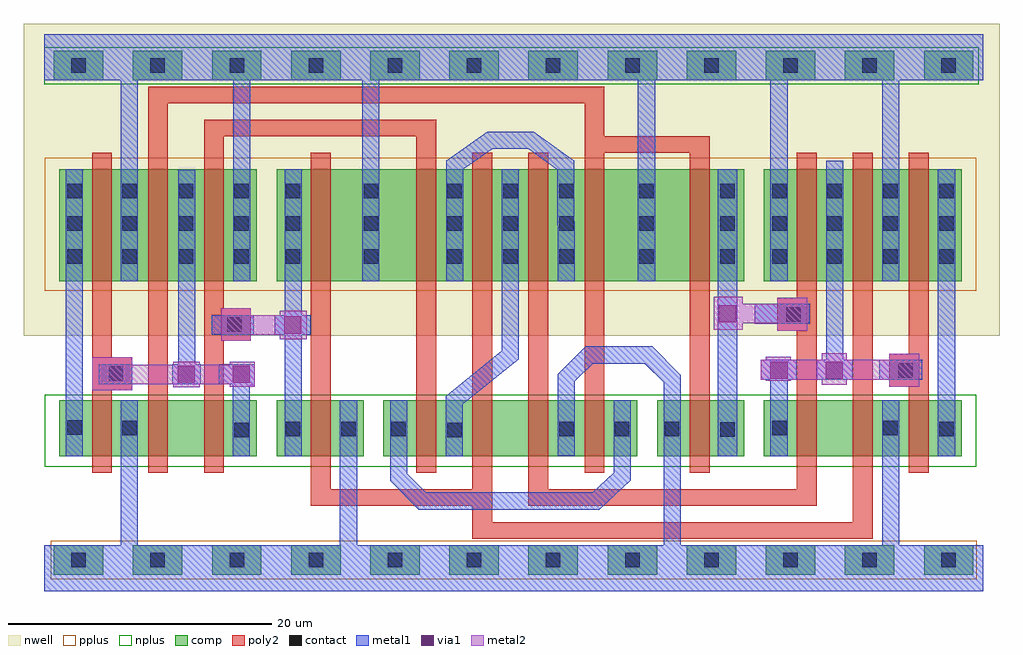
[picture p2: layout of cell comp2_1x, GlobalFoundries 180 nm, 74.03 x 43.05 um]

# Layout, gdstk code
import gdstk
lib = gdstk.Library(unit=1e-6, precision=5e-09)
def R(c, l, rs):  # rectangles x0, y0, x1, y1
    for r in rs: c.add(gdstk.rectangle(r[:2], r[2:], *l))
def A(c, l, x, y, w, h, nx, ny, dx, dy):  # array of equal rectangles
    R(c, l, [(x+i*dx, y+j*dy, x+i*dx+w, y+j*dy+h) for i in range(nx) for j in range(ny)])
def P(c, l, *ps):  # polygons
    for p in ps: c.add(gdstk.Polygon(p, *l))
nwell = (21, 0)
comp = (22, 0)
poly2 = (30, 0)
pplus = (31, 0)
nplus = (32, 0)
contact = (33, 0)
metal1 = (34, 0)
via1 = (35, 0)
metal2 = (36, 0)

comp2_1x = lib.new_cell('comp2_1x')
R(comp2_1x, nwell, [(-41.55,-10.43,32.475,13.25)])
A(comp2_1x, comp, -39.25, -28.555, 3.75, 2.25, 12, 2, 6, 37.505)
R(comp2_1x, comp, [(-38.85,-19.555,-23.85,-15.305), (-22.35,-19.555,-15.75,-15.305), (-14.25,-19.555,5,-15.305), (6.5,-19.555,13.1,-15.305), (14.6,-19.555,29.6,-15.305), (-38.85,-6.3,-23.85,2.2), (14.6,-6.3,29.6,2.2)])
P(comp2_1x, comp, [(-22.35,-6.3),(-22.35,2.2),(-21.125,2.2),(-21.075,2.2),(13.1,2.2),(13.1,-6.3)])
A(comp2_1x, poly2, -7.5, -24.555, 1.5, 1.25, 1, 3, 0, 1.25)
A(comp2_1x, poly2, 21.35, -24.555, 1.5, 1.25, 1, 3, 0, 1.25)
A(comp2_1x, poly2, -11.75, -20.805, 1.5, 5.75, 4, 1, 4.25, 0)
A(comp2_1x, poly2, -11.75, -15.055, 1.5, 4.7, 4, 1, 4.25, 0)
A(comp2_1x, poly2, -11.75, -10.355, 1.5, 13.805, 4, 1, 4.25, 0)
A(comp2_1x, poly2, -32.1, 3.45, 1.5, 1.25, 1, 3, 0, 1.25)
R(comp2_1x, poly2, [(-7.5,-25.805,22.85,-24.555), (-19.75,-23.305,-7.5,-22.055), (-3.25,-23.305,18.6,-22.055), (-19.75,-22.055,-18.25,-20.805), (-3.25,-22.055,-1.75,-20.805), (17.1,-22.055,18.6,-20.805), (-36.35,-20.805,-34.85,-14.55), (-32.1,-20.805,-30.6,-15.055), (-27.85,-20.805,-26.35,-10.8), (-19.75,-20.805,-18.25,-15.055), (9,-20.805,10.5,-15.055), (17.1,-20.805,18.6,-10.05), (21.35,-20.805,22.85,-15.055), (25.6,-20.805,27.1,-14.3), (-32.1,-15.055,-30.6,-10.355), (-19.75,-15.055,-18.25,-10.355), (9,-15.055,10.5,-10.355), (21.35,-15.055,22.85,-10.355), (-36.35,-14.55,-33.3,-12.05), (24.1,-14.3,27.1,-11.8), (-36.35,-12.05,-34.85,3.45), (25.6,-11.8,27.1,3.45), (-27.85,-10.8,-24.3,-8.32), (-32.1,-10.355,-30.6,3.45), (-19.75,-10.355,-18.25,3.45), (9,-10.355,10.5,3.45), (21.35,-10.355,22.85,3.45), (15.6,-10.05,18.6,-7.55), (-27.85,-8.675,-26.35,3.45), (17.1,-7.55,18.6,3.45), (-27.85,3.45,-26.35,4.7), (-11.75,3.45,-10.25,4.7), (1,3.45,10.5,4.7), (-27.85,4.7,-10.25,5.95), (1,4.7,2.5,5.95), (1,5.95,2.5,7.2), (-32.1,7.2,2.5,8.45)])
R(comp2_1x, pplus, [(-39.5,-28.88,30.75,-25.98), (-39.95,-7.025,30.7,3.075)])
R(comp2_1x, nplus, [(-39.95,-20.355,30.7,-14.905), (-39.975,8.65,30.9,11.475)])
A(comp2_1x, contact, -37.925, -27.98, 1.1, 1.1, 12, 2, 6, 37.505)
A(comp2_1x, contact, -38.25, -4.975, 1.1, 1.1, 1, 3, 0, 2.5)
A(comp2_1x, contact, -34.075, -4.975, 1.1, 1.1, 1, 3, 0, 2.5)
A(comp2_1x, contact, -29.775, -4.975, 1.1, 1.1, 1, 3, 0, 2.5)
A(comp2_1x, contact, -25.55, -4.975, 1.1, 1.1, 1, 3, 0, 2.5)
A(comp2_1x, contact, -21.65, -4.975, 1.1, 1.1, 1, 3, 0, 2.5)
A(comp2_1x, contact, -15.75, -4.975, 1.1, 1.1, 1, 3, 0, 2.5)
A(comp2_1x, contact, -9.425, -4.975, 1.1, 1.1, 3, 3, 4.25, 2.5)
A(comp2_1x, contact, 5.15, -4.975, 1.1, 1.1, 1, 3, 0, 2.5)
A(comp2_1x, contact, 11.3, -4.975, 1.1, 1.1, 1, 3, 0, 2.5)
A(comp2_1x, contact, 15.225, -4.975, 1.1, 1.1, 1, 3, 0, 2.5)
A(comp2_1x, contact, 19.425, -4.975, 1.1, 1.1, 1, 3, 0, 2.5)
A(comp2_1x, contact, 23.675, -4.975, 1.1, 1.1, 1, 3, 0, 2.5)
A(comp2_1x, contact, 27.9, -4.975, 1.1, 1.1, 1, 3, 0, 2.5)
R(comp2_1x, contact, [(-9.425,-18.13,-8.325,-17.03), (-25.55,-18.105,-24.45,-17.005), (11.3,-18.08,12.4,-16.98), (-21.65,-18.055,-20.55,-16.955), (-17.45,-18.055,-16.35,-16.955), (-13.65,-18.055,-12.55,-16.955), (-0.925,-18.055,0.175,-16.955), (3.3,-18.055,4.4,-16.955), (7.1,-18.055,8.2,-16.955), (27.9,-18.055,29,-16.955), (-34.075,-17.98,-32.975,-16.88), (15.225,-17.98,16.325,-16.88), (23.675,-17.955,24.775,-16.855), (-38.25,-17.93,-37.15,-16.83), (-35.1,-13.85,-34,-12.75), (24.8,-13.6,25.9,-12.5), (-26.1,-10.1,-25,-9), (16.3,-9.35,17.4,-8.25)])
P(comp2_1x, metal1, [(-30.275,-14.1),(-30.275,-12.6),(-29.825,-12.6),(-29.825,2.18),(-28.525,2.18),(-28.525,-12.6),(-28.125,-12.6),(-28.125,-14.1)],
  [(-25.675,-19.555),(-25.675,-14.105),(-26.75,-14.105),(-26.75,-12.6),(-24,-12.6),(-24,-14.175),(-24.375,-14.175),(-24.375,-19.555)],
  [(-21.75,-19.555),(-21.75,-10.35),(-22.5,-10.35),(-22.5,-8.85),(-21.75,-8.85),(-21.75,2.2),(-20.45,2.2),(-20.45,-8.875),(-19.75,-8.875),(-19.75,-10.35),(-20.45,-10.35),(-20.45,-19.555)])
R(comp2_1x, via1, [(-29.85,-14,-28.55,-12.7), (-25.675,-14,-24.375,-12.7), (15.1,-13.675,16.4,-12.375), (19.3,-13.675,20.6,-12.375), (-21.775,-10.25,-20.475,-8.95), (11.2,-9.4,12.5,-8.1)])
P(comp2_1x, metal2, [(-26.55,-10.795),(-26.55,-8.32),(-24.3,-8.32),(-24.3,-8.85),(-22.1,-8.85),(-22.1,-8.52),(-20.05,-8.52),(-20.05,-10.695),(-22.1,-10.695),(-22.1,-10.35),(-24.3,-10.35),(-24.3,-10.795)],
  [(15.6,-10.05),(15.6,-9.475),(13,-9.475),(13,-9.975),(10.8,-9.975),(10.8,-7.475),(13,-7.475),(13,-7.975),(15.6,-7.975),(15.6,-7.55),(17.9,-7.55),(17.9,-10.05)],
  [(-36.35,-14.555),(-36.35,-12.055),(-33.3,-12.055),(-33.3,-12.605),(-30.175,-12.605),(-30.175,-12.375),(-28.175,-12.375),(-28.175,-12.605),(-25.925,-12.605),(-25.925,-12.375),(-24,-12.375),(-24,-14.3),(-25.925,-14.3),(-25.925,-14.105),(-28.175,-14.105),(-28.175,-14.325),(-30.175,-14.325),(-30.175,-14.105),(-33.3,-14.105),(-33.3,-14.555)],
  [(24.1,-14.3),(24.1,-13.75),(20.875,-13.75),(20.875,-14.15),(19,-14.15),(19,-13.75),(16.65,-13.75),(16.65,-13.85),(14.75,-13.85),(14.75,-13.75),(14.35,-13.75),(14.35,-12.25),(14.75,-12.25),(14.75,-12),(16.65,-12),(16.65,-12.25),(19,-12.25),(19,-11.75),(20.875,-11.75),(20.875,-12.25),(24.1,-12.25),(24.1,-11.8),(26.4,-11.8),(26.4,-14.3)])
comp2_1x.add(gdstk.FlexPath([(19.975,2.2),(19.975,-13.1)], 1.3, ends="extended", simple_path=True, layer=34, datatype=0))  # metal1
comp2_1x.add(gdstk.FlexPath([(19.35,-13),(20.6,-13)], 1.5, ends="extended", simple_path=True, layer=34, datatype=0))  # metal1
comp2_1x.add(gdstk.FlexPath([(15.1,-13),(16.35,-13)], 1.5, ends="extended", simple_path=True, layer=34, datatype=0))  # metal1
comp2_1x.add(gdstk.FlexPath([(15.75,-18.905),(15.75,-12.9)], 1.3, ends="extended", simple_path=True, layer=34, datatype=0))  # metal1
comp2_1x.add(gdstk.FlexPath([(-8.875,-18.905),(-8.875,-15.305),(-4.625,-11.88),(-4.625,1.55)], 1.3, ends="extended", simple_path=True, layer=34, datatype=0))  # metal1
comp2_1x.add(gdstk.FlexPath([(3.85,-15.955),(3.85,-21.105),(1.875,-22.955),(-11.3,-22.955),(-13.1,-21.155),(-13.1,-15.955)], 1.3, ends="extended", simple_path=True, layer=34, datatype=0))  # metal1
comp2_1x.add(gdstk.FlexPath([(-34.05,-13.35),(-35.1,-13.35)], 1.5, ends="extended", simple_path=True, layer=34, datatype=0))  # metal1
comp2_1x.add(gdstk.FlexPath([(28.45,1.55),(28.45,-18.905)], 1.3, ends="extended", simple_path=True, layer=34, datatype=0))  # metal1
comp2_1x.add(gdstk.FlexPath([(-24.825,-9.6),(-26.525,-9.6)], 1.5, ends="extended", simple_path=True, layer=34, datatype=0))  # metal1
comp2_1x.add(gdstk.FlexPath([(-37.7,1.55),(-37.7,-18.905)], 1.3, ends="extended", simple_path=True, layer=34, datatype=0))  # metal1
comp2_1x.add(gdstk.FlexPath([(29.5,-28.055),(-38.225,-28.055)], 3.5, ends="extended", simple_path=True, layer=34, datatype=0))  # metal1
comp2_1x.add(gdstk.FlexPath([(-33.525,-15.955),(-33.525,-26.305)], 1.3, ends="extended", simple_path=True, layer=34, datatype=0))  # metal1
comp2_1x.add(gdstk.FlexPath([(-16.9,-15.955),(-16.9,-26.305)], 1.3, ends="extended", simple_path=True, layer=34, datatype=0))  # metal1
comp2_1x.add(gdstk.FlexPath([(-16.9,-15.955),(-16.9,-26.305)], 1.3, ends="extended", simple_path=True, layer=34, datatype=0))  # metal1
comp2_1x.add(gdstk.FlexPath([(24.1,-13),(25.85,-13)], 1.5, ends="extended", simple_path=True, layer=34, datatype=0))  # metal1
comp2_1x.add(gdstk.FlexPath([(14.675,-8.75),(17.35,-8.75)], 1.5, ends="extended", simple_path=True, layer=34, datatype=0))  # metal1
comp2_1x.add(gdstk.FlexPath([(24.225,-15.955),(24.225,-26.305)], 1.3, ends="extended", simple_path=True, layer=34, datatype=0))  # metal1
comp2_1x.add(gdstk.FlexPath([(-0.375,-18.855),(-0.375,-13.605),(1.35,-11.88),(5.85,-11.88),(7.65,-13.68),(7.65,-26.375)], 1.3, ends="extended", simple_path=True, layer=34, datatype=0))  # metal1
comp2_1x.add(gdstk.FlexPath([(11.85,-18.805),(11.85,1.45)], 1.5, ends="extended", simple_path=True, layer=34, datatype=0))  # metal1
comp2_1x.add(gdstk.FlexPath([(29.5,10.7),(-38.225,10.7)], 3.5, ends="extended", simple_path=True, layer=34, datatype=0))  # metal1
comp2_1x.add(gdstk.FlexPath([(-33.525,-5.65),(-33.525,8.775)], 1.3, ends="extended", simple_path=True, layer=34, datatype=0))  # metal1
comp2_1x.add(gdstk.FlexPath([(-25,-5.65),(-25,8.325)], 1.3, ends="extended", simple_path=True, layer=34, datatype=0))  # metal1
comp2_1x.add(gdstk.FlexPath([(-15.2,-5.65),(-15.2,8.525)], 1.3, ends="extended", simple_path=True, layer=34, datatype=0))  # metal1
comp2_1x.add(gdstk.FlexPath([(5.7,-5.65),(5.7,8.225),(5.7,8.85)], 1.3, ends="extended", simple_path=True, layer=34, datatype=0))  # metal1
comp2_1x.add(gdstk.FlexPath([(15.75,-5.65),(15.75,8.3)], 1.3, ends="extended", simple_path=True, layer=34, datatype=0))  # metal1
comp2_1x.add(gdstk.FlexPath([(24.225,-5.65),(24.225,8.675)], 1.3, ends="extended", simple_path=True, layer=34, datatype=0))  # metal1
comp2_1x.add(gdstk.FlexPath([(-8.85,-5.65),(-8.85,2.53),(-6.165,4.4),(-3.06,4.4),(-0.41,2.525),(-0.375,-5.65)], 1.3, ends="extended", simple_path=True, layer=34, datatype=0))  # metal1

lib.write_gds('comp2_1x.gds')
